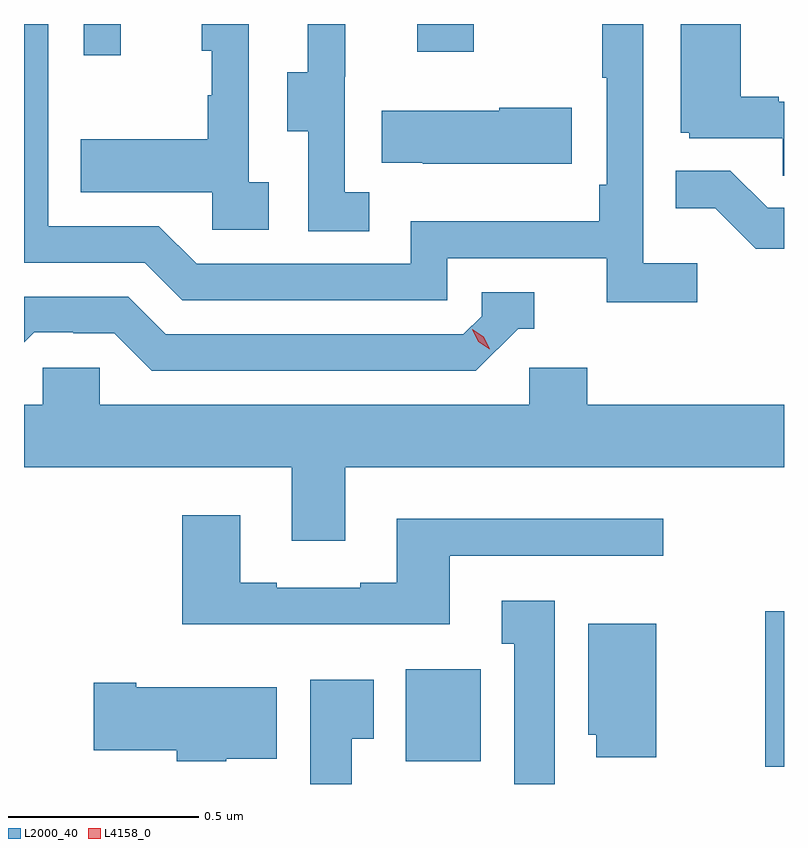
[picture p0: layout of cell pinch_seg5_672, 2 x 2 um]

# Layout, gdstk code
import gdstk
lib = gdstk.Library(unit=1e-6, precision=1e-09)
def R(c, l, rs):  # rectangles x0, y0, x1, y1
    for r in rs: c.add(gdstk.rectangle(r[:2], r[2:], *l))
def P(c, l, *ps):  # polygons
    for p in ps: c.add(gdstk.Polygon(p, *l))
L2000_40 = (2000, 40)
L4158_0 = (4158, 0)

pinch_seg5_672 = lib.new_cell('pinch_seg5_672')
R(pinch_seg5_672, L2000_40, [(1063.112,833.327,1063.162,833.737), (1062.167,833.342,1062.364,833.584), (1061.319,835.2,1061.417,835.282), (1062.197,835.209,1062.345,835.282)])
P(pinch_seg5_672, L2000_40, [(1063.162,835.077),(1063.148,835.077),(1063.148,835.09),(1063.048,835.09),(1063.048,835.282),(1062.89,835.282),(1062.89,834.996),(1062.912,834.996),(1062.912,834.981),(1063.159,834.981),(1063.159,834.883),(1063.162,834.883)],
  [(1062.934,834.652),(1062.792,834.652),(1062.792,835.282),(1062.684,835.282),(1062.684,835.141),(1062.696,835.141),(1062.696,834.859),(1062.676,834.859),(1062.676,834.763),(1062.18,834.763),(1062.18,834.651),(1061.616,834.651),(1061.517,834.75),(1061.226,834.75),(1061.226,835.282),(1061.162,835.282),(1061.162,834.654),(1061.48,834.654),(1061.579,834.555),(1062.276,834.555),(1062.276,834.666),(1062.695,834.666),(1062.695,834.55),(1062.934,834.55)],
  [(1062.07,834.839),(1062.006,834.839),(1062.006,835.143),(1062.008,835.143),(1062.008,835.282),(1061.909,835.282),(1061.909,835.155),(1061.855,835.155),(1061.855,835),(1061.91,835),(1061.91,834.736),(1062.07,834.736)],
  [(1061.806,834.866),(1061.754,834.866),(1061.754,835.282),(1061.63,835.282),(1061.63,835.212),(1061.656,835.212),(1061.656,835.094),(1061.646,835.094),(1061.646,834.979),(1061.311,834.979),(1061.311,834.839),(1061.658,834.839),(1061.658,834.741),(1061.806,834.741)],
  [(1062.604,835.062),(1062.413,835.062),(1062.413,835.054),(1062.103,835.054),(1062.103,834.917),(1062.211,834.917),(1062.211,834.914),(1062.604,834.914)],
  [(1063.162,834.798),(1063.119,834.798),(1063.021,834.896),(1062.877,834.896),(1062.877,834.797),(1062.981,834.797),(1063.088,834.69),(1063.162,834.69)],
  [(1062.462,834.48),(1062.505,834.48),(1062.505,834.576),(1062.366,834.576),(1062.366,834.513),(1062.318,834.465),(1061.535,834.465),(1061.436,834.564),(1061.162,834.564),(1061.162,834.444),(1061.189,834.471),(1061.292,834.471),(1061.292,834.468),(1061.399,834.468),(1061.498,834.369),(1062.351,834.369)],
  [(1062.007,834.116),(1063.162,834.116),(1063.162,834.28),(1062.644,834.28),(1062.644,834.378),(1062.492,834.378),(1062.492,834.28),(1061.361,834.28),(1061.361,834.378),(1061.211,834.378),(1061.211,834.28),(1061.162,834.28),(1061.162,834.116),(1061.867,834.116),(1061.867,833.922),(1062.007,833.922)],
  [(1062.283,833.883),(1062.844,833.883),(1062.844,833.98),(1062.143,833.98),(1062.143,833.812),(1062.047,833.812),(1062.047,833.799),(1061.827,833.799),(1061.827,833.812),(1061.731,833.812),(1061.731,833.989),(1061.579,833.989),(1061.579,833.702),(1062.283,833.702)],
  [(1062.559,833.764),(1062.419,833.764),(1062.419,833.651),(1062.452,833.651),(1062.452,833.282),(1062.559,833.282)],
  [(1062.826,833.704),(1062.647,833.704),(1062.647,833.412),(1062.668,833.412),(1062.668,833.352),(1062.826,833.352)],
  [(1062.025,833.401),(1062.082,833.401),(1062.082,833.557),(1061.915,833.557),(1061.915,833.282),(1062.025,833.282)],
  [(1061.694,833.348),(1061.827,833.348),(1061.827,833.536),(1061.458,833.536),(1061.458,833.549),(1061.346,833.549),(1061.346,833.371),(1061.564,833.371),(1061.564,833.342),(1061.694,833.342)])
P(pinch_seg5_672, L4158_0, [(1062.388,834.426),(1062.357,834.446),(1062.341,834.479),(1062.341,834.479),(1062.342,834.479),(1062.372,834.459),(1062.388,834.426),(1062.388,834.426)])

lib.write_gds('pinch_seg5_672.gds')
